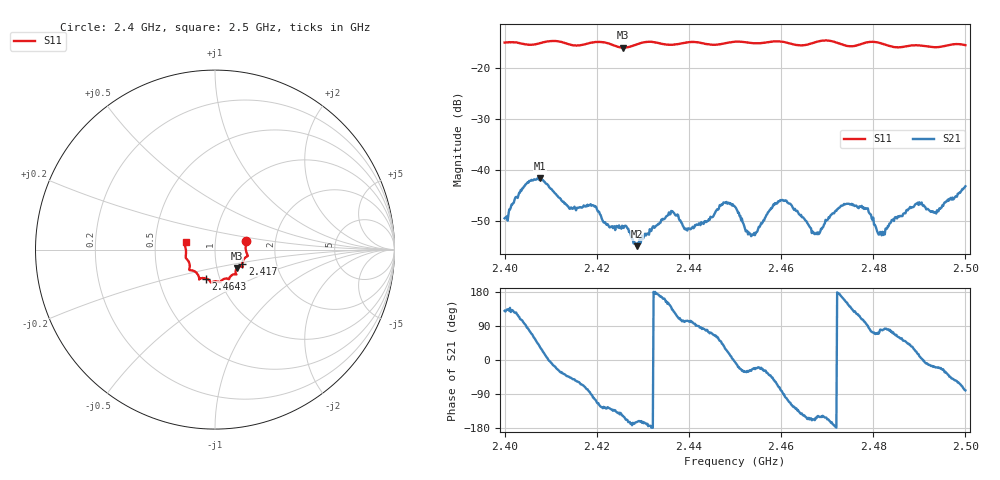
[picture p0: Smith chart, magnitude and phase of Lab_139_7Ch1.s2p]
# Hz S RI R 50
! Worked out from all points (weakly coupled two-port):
!   601 points, 2.4 GHz to 2.5 GHz, reference 50 ohm
!   highest |S21| = -41.57 dB at 2.4077 GHz (marker M1); lowest = -55.0 dB at 2.4287 GHz (marker M2)
!   lowest |S11| = -15.9 dB at 2.4257 GHz (marker M3), VSWR 1.38, Z = 62.5 - j13.1 ohm
!   |S11| at or under -10 dB: start of sweep to end of sweep
!   S12 and S22 are empty: the file has one direction only
!   S11 on the Smith chart (normalised r, x): 2.4 GHz: 1.41, +0.14; 2.417 GHz: 1.34, -0.21; 2.4643 GHz: 0.86, -0.29; 2.5 GHz: 0.72, +0.06
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2.4e9  0.1727 0.049  -0.00215 0.00258  0 0  0 0
2.4045e9  0.1714 0.0198  -0.000416 0.00719  0 0  0 0
2.407667e9  0.176 -0.0174  0.00686 0.00475  0 0  0 0
2.416667e9  0.1528 -0.074  0.00186 -0.00386  0 0  0 0
2.417e9  0.1521 -0.0779  0.00174 -0.00399  0 0  0 0
2.425667e9  0.1229 -0.1022  -0.00235 -0.00151  0 0  0 0
2.428667e9  0.1149 -0.1286  -0.00172 -0.000492  0 0  0 0
2.433333e9  0.1132 -0.1373  -0.00294 0.000361  0 0  0 0
2.4365e9  0.0906 -0.1452  -0.00265 0.00289  0 0  0 0
2.44e9  0.0791 -0.1631  -0.000537 0.0026  0 0  0 0
2.45e9  0.0288 -0.1811  0.00434 -0.000398  0 0  0 0
2.453333e9  0.0152 -0.1775  0.00211 -0.00107  0 0  0 0
2.459833e9  -0.0239 -0.1825  0.00108 -0.00497  0 0  0 0
2.464333e9  -0.0496 -0.1611  -0.00288 -0.00222  0 0  0 0
2.466667e9  -0.0757 -0.1594  -0.00224 -0.000856  0 0  0 0
2.474167e9  -0.0987 -0.1346  -0.00413 0.00217  0 0  0 0
2.478667e9  -0.1394 -0.1147  -0.000157 0.0042  0 0  0 0
2.481333e9  -0.1426 -0.1073  0.000659 0.00224  0 0  0 0
2.483333e9  -0.1408 -0.0902  0.000446 0.00278  0 0  0 0
2.4895e9  -0.1633 -0.0429  0.00444 0.0015  0 0  0 0
2.493667e9  -0.1617 -0.00611  0.00354 -0.00124  0 0  0 0
2.5e9  -0.1637 0.0434  0.00118 -0.00684  0 0  0 0
